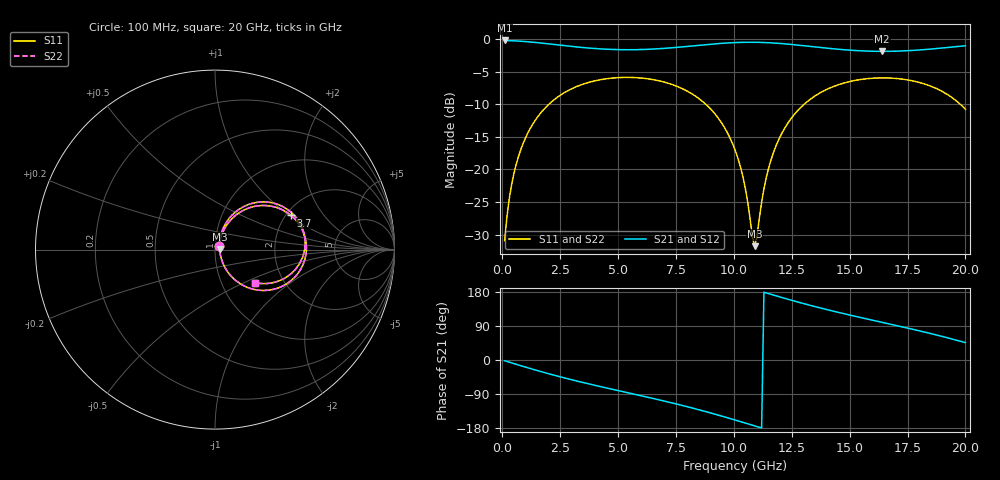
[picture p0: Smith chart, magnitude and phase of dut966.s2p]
! Touchstone file exported from HFSS 2026.1.0
!  File:  C:/ffzhzh/LocalFiles/Ansys_Project_Files/temp_train_TSV_RDL_966_1783285357_39728.aedt
!  Generated:  05:13:14 AM Jul  6, 2026
!  Design:  TSV_RDL
!  Project:  temp_train_TSV_RDL_966_1783285357_39728
! Variables:
!  h_bsmrdl = 4.59um
!  h_ox = 20um
!  h_rdl = 5um
!  h_sub = 69.47um
!  h_tmrdl = 5.46um
!  h_tsv = 69.47um
!  h_via = 3um
!  l_bsmrdl = 682.49um
!  l_sub = 5354.73um
!  l_tmrdl = 701.51um
!  m_sub = 200um
!  pitch = 44.34um
!  r_tsv = 13.63um
!  s_tmrdl = 10um
!  w_bsmrdl = 18.35um
!  w_sub = 500um
!  w_tmrdl = 15.39um
!  x_tsv_center1 = 709.205um
!  x_tsv_center2 = 1410.045um
!  x_tsv_center3 = 2126.945um
!  x_tsv_center4 = 2827.785um
!  x_tsv_center5 = 3544.685um
!  x_tsv_center6 = 4245.525um
# GHz S MA R 50.000000
! Terminal data exported
! Port[1] = TM_RDL1_1_T1
! Port[2] = TM_RDL5_1_T1
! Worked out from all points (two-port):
!   200 points, 100 MHz to 20 GHz, reference 50 ohm
!   highest |S21| = -0.19 dB at 100 MHz (marker M1); lowest = -1.9 dB at 16.4 GHz (marker M2)
!   |S21| within 3 dB of the highest: start of sweep to end of sweep
!   lowest |S11| = -31.8 dB at 10.9 GHz (marker M3), VSWR 1.05, Z = 52.6 + j0.202 ohm
!   |S11| at or under -10 dB: start of sweep to 2.006 GHz; 8.794 GHz to 13.03 GHz (4.238 GHz wide, 38.8 % of centre); 19.78 GHz to end of sweep
!   |S22| runs from -31.8 to -5.9 dB; largest |S21 - S12| = 1.7e-14
!   S11 on the Smith chart (normalised r, x): 100 MHz: 1.04, +0.04; 3.7 GHz: 2.13, +1.03; 20 GHz: 1.44, -0.58
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0.1  0.02839 40.0  0.9787 -2.0  0.9787 -2.0  0.02839 40.0
! Gamma 0 0 0 0
! Port Impedance 50 0 50 0
0.3  0.05958 61.7  0.9758 -5.8  0.9758 -5.8  0.05958 61.7
0.5  0.09276 65.6  0.9722 -9.5  0.9722 -9.5  0.09276 65.6
1.1  0.19 61.8  0.9566 -20.6  0.9566 -20.6  0.19 61.8
2.1  0.3276 47.4  0.9176 -37.9  0.9176 -37.9  0.3276 47.4
3.5  0.4528 27.0  0.8628 -59.6  0.8628 -59.6  0.4528 27.0
3.7  0.4645 24.2  0.8566 -62.5  0.8566 -62.5  0.4645 24.2
5.3  0.5094 2.9  0.8308 -84.8  0.8308 -84.8  0.5094 2.9
6.8  0.4781 -16.8  0.8464 -105.6  0.8464 -105.6  0.4781 -16.8
8.8  0.3155 -45.0  0.909 -136.4  0.909 -136.4  0.3155 -45.0
9.5  0.2237 -54.7  0.9308 -148.4  0.9308 -148.4  0.2236 -54.7
10.1  0.1336 -60.6  0.9436 -159.2  0.9436 -159.2  0.1336 -60.7
10.5  0.07111 -57.6  0.9477 -166.5  0.9477 -166.5  0.07105 -57.7
10.9  0.02577 4.3  0.9479 -173.9  0.9479 -173.9  0.02562 4.3
11.4  0.08658 67.8  0.9423 177.0  0.9423 177.0  0.08655 67.9
11.8  0.1486 68.1  0.9336 169.7  0.9336 169.7  0.1486 68.2
12.5  0.2497 60.3  0.9114 157.4  0.9114 157.4  0.2497 60.4
13.4  0.3564 47.8  0.8768 142.6  0.8768 142.6  0.3564 47.8
16.4  0.505 8.0  0.8071 99.4  0.8071 99.4  0.505 8.0
16.7  0.5039 4.2  0.8076 95.3  0.8076 95.3  0.5039 4.2
18.5  0.4364 -19.2  0.8402 69.8  0.8402 69.8  0.4364 -19.1
20  0.2899 -39.5  0.8909 45.8  0.8909 45.8  0.2899 -39.4
